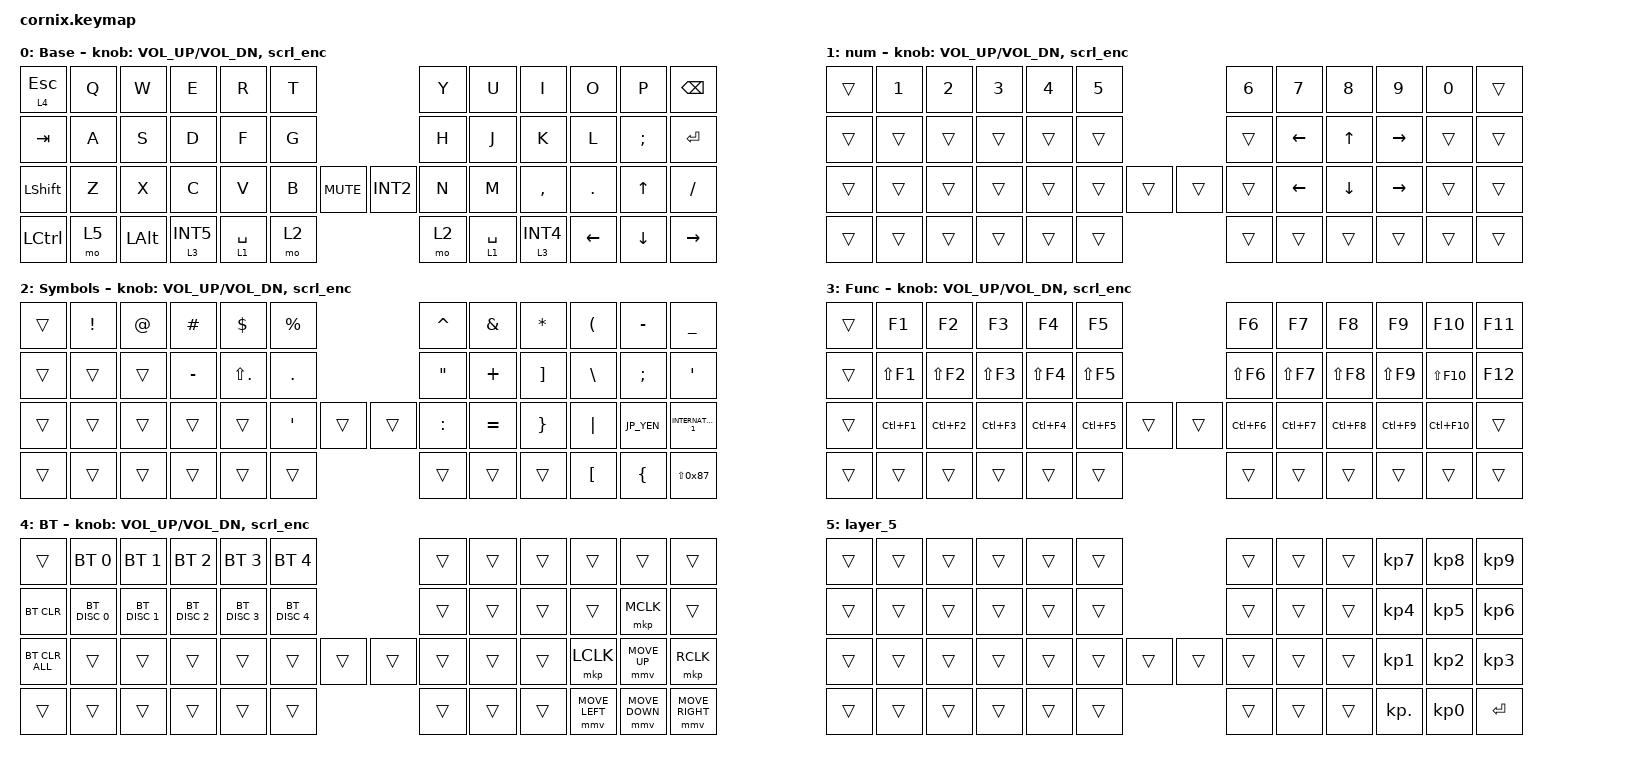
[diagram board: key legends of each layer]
/*
 * Copyright (c) 2020 The ZMK Contributors
 *
 * SPDX-License-Identifier: MIT
 */

#include "zmk-helpers/helper.h"
#include "includes/cornix54.h"

// tap windows for ctl alt and gui

#define HM_TAPPING_TERM 250
#define HM_TAPPING_REPEAT 210

// quick tapping for shift

#define HM_TAPPING_TERM_FAST 200
#define HM_PRIOR_IDLE 70
#define BASE 0
#define WIN 1
#define LOWER 2
#define RAISE 3
#define ADJUST 4
#define NAVI   5
#define NUM    6
#define DEBUG  7

// https://github.com/urob/zmk-config/tree/main#timeless-homerow-mods

#define KEYS_L LT0 LT1 LT2 LT3 LT4 LT5 LM0 LM1 LM2 LM3 LM4 LM5 LB0 LB1 LB2 LB3 LB4 LB5  // left hand
#define KEYS_R RT0 RT1 RT2 RT3 RT4 RT5 RM0 RM1 RM2 RM3 RM4 RM5 RB0 RB1 RB2 RB3 RB4 RB5  // right hand
#define THUMBS LH1 LH0 RH0 RH1
#define KEYS_T LH1 LH0 RH0 RH1
#define ZMK_POINTING_DEFAULT_SCRL_VAL 50
#define JP_DQUOTE       AT                // "
#define JP_AMPERSAND    CARET             // &
#define JP_QUOTE        AMPERSAND         // '
#define JP_EQUAL        UNDER             // =
#define JP_CARET        EQUAL             // ^
#define JP_YEN          0x89              // ¥
#define JP_PLUS         COLON             // +
#define JP_TILDE        PLUS              // ~
#define JP_PIPE         LS(0x89)          // |
#define JP_AT           LEFT_BRACKET      // @
#define JP_COLON        SINGLE_QUOTE      // :
#define JP_ASTERISK     DOUBLE_QUOTES     // *
#define JP_BACKQUOTE    LEFT_BRACE        // `
#define JP_UNDERSCORE   LS(0x87)          // _
#define JP_LBRACKET     RIGHT_BRACKET     // [
#define JP_RBRACKET     BACKSLASH         // ]
#define JP_LPAREN       ASTERISK          // (
#define JP_RPAREN       LEFT_PARENTHESIS  // )
#define JP_LBRACE       RIGHT_BRACE       // {
#define JP_RBRACE       PIPE              // }
#define JP_KANA         LANGUAGE_1        // かな
#define JP_EISU         LANGUAGE_2        // 英数
#define JP_HANZEN       GRAVE             // 半角/全角
#define JP_BSLH         INTERNATIONAL_1   // ろ（右下の \ と _ のキー）

#include <behaviors.dtsi>
#include <dt-bindings/zmk/bt.h>
#include <dt-bindings/zmk/keys.h>
#include <dt-bindings/zmk/pointing.h>

/ {
    // Activate ADJUST layer by pressing raise and lower

    behaviors {
        hm_l: homerow_mods_left {
            compatible = "zmk,behavior-hold-tap";
            #binding-cells = <2>;
            bindings = <&kp>, <&kp>;

            flavor = "balanced";
            tapping-term-ms = <HM_TAPPING_TERM>;
            quick-tap-ms = <200>;                // repeat on tap-into-hold
            require-prior-idle-ms = <HM_PRIOR_IDLE>;
            hold-trigger-key-positions = <KEYS_R KEYS_T>;
            hold-trigger-on-release;
        };

        hm_r: homerow_mods_right {
            compatible = "zmk,behavior-hold-tap";
            #binding-cells = <2>;
            bindings = <&kp>, <&kp>;

            flavor = "balanced";
            tapping-term-ms = <HM_TAPPING_TERM>;
            quick-tap-ms = <200>;
            require-prior-idle-ms = <HM_PRIOR_IDLE>;
            hold-trigger-key-positions = <KEYS_L KEYS_T>;
            hold-trigger-on-release;
        };

        // Positional Homerow mods for shift
        // Use faster tapping term and disable some features that may
        // cause false negatives.

        hm_shift_l: hm_shift_l {
            compatible = "zmk,behavior-hold-tap";
            #binding-cells = <2>;
            bindings = <&kp>, <&kp>;

            //flavor = "balanced";

            flavor = "balanced";
            tapping-term-ms = <HM_TAPPING_TERM_FAST>;
            quick-tap-ms = <200>;
            require-prior-idle-ms = <HM_PRIOR_IDLE>;
            hold-trigger-key-positions = <KEYS_R KEYS_T>;
            hold-trigger-on-release;
        };

        hm_shift_r: hm_shift_r {
            compatible = "zmk,behavior-hold-tap";
            #binding-cells = <2>;
            bindings = <&kp>, <&kp>;

            flavor = "balanced";
            tapping-term-ms = <HM_TAPPING_TERM_FAST>;
            quick-tap-ms = <200>;
            require-prior-idle-ms = <HM_PRIOR_IDLE>;
            hold-trigger-key-positions = <KEYS_L KEYS_T>;

            // for quick tapping; shift+~

            hold-trigger-on-release;
        };

        /*
         * Non-Positional Homerow Mods
         * Used for &mm_grescm_gui behavior on left hand.
         *
         * Usage: &hm LSHFT T
         * Tap: T
         * Tap-Tap-Hold: Repeat T
         * Hold: LSHIFT
         */

        hm: homerow_mods {
            compatible = "zmk,behavior-hold-tap";
            #binding-cells = <2>;
            bindings = <&kp>, <&kp>;

            flavor = "balanced";
            tapping-term-ms = <HM_TAPPING_TERM>;
            quick-tap-ms = <200>;
        };

        lt: layer_tap {
            compatible = "zmk,behavior-hold-tap";
            #binding-cells = <2>;
            bindings = <&mo>, <&kp>;

            flavor = "hold-preferred";
            tapping-term-ms = <HM_TAPPING_TERM>;
            quick-tap-ms = <200>;
        };

        scrl_enc: scrl_enc {
            compatible = "zmk,behavior-sensor-rotate";
            #sensor-binding-cells = <0>;
            bindings = <&msc SCRL_DOWN>, <&msc SCRL_UP>;

            tap-ms = <50>;
        };
    };

    conditional_layers { compatible = "zmk,conditional-layers"; };

    combos {
        compatible = "zmk,combos";

        esc {
            bindings = <&kp ESCAPE>;
            key-positions = <0 1>;
        };

        minus {
            bindings = <&kp MINUS>;
            key-positions = <8 9>;
        };

        alt_f4 {
            bindings = <&kp LA(F4)>;
            key-positions = <3 4 5>;
        };

        equal {
            bindings = <&kp JP_EQUAL>;
            key-positions = <9 10>;
        };

        tidle {
            bindings = <&kp JP_TILDE>;
            key-positions = <7 8>;
        };

        pipe {
            bindings = <&kp JP_PIPE>;
            key-positions = <18 32>;
        };

        underscore {
            bindings = <&kp JP_UNDERSCORE>;
            key-positions = <37 36>;
        };

        del {
            bindings = <&kp DELETE>;
            key-positions = <10 11>;
        };

        question {
            bindings = <&kp QUESTION>;
            key-positions = <6 7>;
        };

        pointerref {
            bindings = <&pointer_macro>;
            key-positions = <18 19>;
        };

        win {
            bindings = <&kp LEFT_GUI>;
            key-positions = <39 40>;
        };

        space {
            bindings = <&kp SPACE>;
            key-positions = <44 43>;
        };
    };

    macros {
        pointer_macro: new_macro {
            compatible = "zmk,behavior-macro";
            #binding-cells = <0>;
            bindings = <&kp KP_MINUS &kp GT>;
            label = "NEW_MACRO";
        };
    };

    keymap {
        compatible = "zmk,keymap";

        default_layer {
            display-name = "Base";
            bindings = <
&lt 4 ESC         &kp Q  &kp W         &kp E       &kp R        &kp T                        &kp Y  &kp U        &kp I       &kp O     &kp P         &kp BACKSPACE
&kp TAB           &kp A  &kp S         &kp D       &kp F        &kp G                        &kp H  &kp J        &kp K       &kp L     &kp SEMI      &kp ENTER
&kp LEFT_SHIFT    &kp Z  &kp X         &kp C       &kp V        &kp B  &kp C_MUTE  &kp INT2  &kp N  &kp M        &kp COMMA   &kp DOT   &kp UP_ARROW  &kp SLASH
&kp LEFT_CONTROL  &mo 5  &kp LEFT_ALT  &lt 3 INT5  &lt 1 SPACE  &mo 2                        &mo 2  &lt 1 SPACE  &lt 3 INT4  &kp LEFT  &kp DOWN      &kp RIGHT
            >;

            // 左：ボリューム調整、右：スクロール（ご希望の本来の配置）

            sensor-bindings = <&inc_dec_kp C_VOL_UP C_VOL_DN>, <&scrl_enc>;
        };

        Num_layer {
            display-name = "num";
            bindings = <
&trans  &kp N1  &kp N2  &kp N3  &kp N4  &kp N5                  &kp N6  &kp N7    &kp N8    &kp N9     &kp N0  &trans
&trans  &trans  &trans  &trans  &trans  &trans                  &trans  &kp LEFT  &kp UP    &kp RIGHT  &trans  &trans
&trans  &trans  &trans  &trans  &trans  &trans  &trans  &trans  &trans  &kp LEFT  &kp DOWN  &kp RIGHT  &trans  &trans
&trans  &trans  &trans  &trans  &trans  &trans                  &trans  &trans    &trans    &trans     &trans  &trans
            >;

            sensor-bindings = <&inc_dec_kp C_VOL_UP C_VOL_DN>, <&scrl_enc>;
        };

        Symbol_layer {
            display-name = "Symbols";
            bindings = <
&trans  &kp EXCLAMATION  &kp JP_DQUOTE  &kp HASH   &kp DOLLAR   &kp PERCENT                   &kp JP_AMPERSAND  &kp JP_QUOTE  &kp JP_LPAREN    &kp JP_RPAREN    &kp MINUS         &kp JP_EQUAL
&trans  &trans           &trans         &kp MINUS  &kp LS(DOT)  &kp DOT                       &kp JP_ASTERISK   &kp JP_TILDE  &kp JP_LBRACKET  &kp JP_RBRACKET  &kp SEMI          &kp JP_COLON
&trans  &trans           &trans         &trans     &trans       &kp JP_COLON  &trans  &trans  &kp JP_PLUS       &kp JP_CARET  &kp JP_LBRACE    &kp JP_RBRACE    &kp JP_YEN        &kp JP_BSLH
&trans  &trans           &trans         &trans     &trans       &trans                        &trans            &trans        &trans           &kp JP_AT        &kp JP_BACKQUOTE  &kp JP_UNDERSCORE
            >;

            sensor-bindings = <&inc_dec_kp C_VOL_UP C_VOL_DN>, <&scrl_enc>;
        };

        Function_layer {
            display-name = "Func";
            bindings = <
&trans  &kp F1      &kp F2      &kp F3      &kp F4      &kp F5                      &kp F6      &kp F7      &kp F8      &kp F9      &kp F10      &kp F11
&trans  &kp LS(F1)  &kp LS(F2)  &kp LS(F3)  &kp LS(F4)  &kp LS(F5)                  &kp LS(F6)  &kp LS(F7)  &kp LS(F8)  &kp LS(F9)  &kp LS(F10)  &kp F12
&trans  &kp LC(F1)  &kp LC(F2)  &kp LC(F3)  &kp LC(F4)  &kp LC(F5)  &trans  &trans  &kp LC(F6)  &kp LC(F7)  &kp LC(F8)  &kp LC(F9)  &kp LC(F10)  &trans
&trans  &trans      &trans      &trans      &trans      &trans                      &trans      &trans      &trans      &trans      &trans       &trans
            >;

            sensor-bindings = <&inc_dec_kp C_VOL_UP C_VOL_DN>, <&scrl_enc>;
        };

        BT_layer {
            display-name = "BT";
            bindings = <
&trans          &bt BT_SEL 0   &bt BT_SEL 1   &bt BT_SEL 2   &bt BT_SEL 3   &bt BT_SEL 4                   &trans  &trans  &trans  &trans          &trans          &trans
&bt BT_CLR      &bt BT_DISC 0  &bt BT_DISC 1  &bt BT_DISC 2  &bt BT_DISC 3  &bt BT_DISC 4                  &trans  &trans  &trans  &trans          &mkp MCLK       &trans
&bt BT_CLR_ALL  &trans         &trans         &trans         &trans         &trans         &trans  &trans  &trans  &trans  &trans  &mkp LCLK       &mmv MOVE_UP    &mkp RCLK
&trans          &trans         &trans         &trans         &trans         &trans                         &trans  &trans  &trans  &mmv MOVE_LEFT  &mmv MOVE_DOWN  &mmv MOVE_RIGHT
            >;

            sensor-bindings = <&inc_dec_kp C_VOL_UP C_VOL_DN>, <&scrl_enc>;
        };

        layer_5 {
            bindings = <
&trans  &trans  &trans  &trans  &trans  &trans                  &trans  &trans  &trans  &kp KP_NUMBER_7  &kp KP_NUMBER_8  &kp KP_NUMBER_9
&trans  &trans  &trans  &trans  &trans  &trans                  &trans  &trans  &trans  &kp KP_NUMBER_4  &kp KP_NUMBER_5  &kp KP_NUMBER_6
&trans  &trans  &trans  &trans  &trans  &trans  &trans  &trans  &trans  &trans  &trans  &kp KP_NUMBER_1  &kp KP_NUMBER_2  &kp KP_NUMBER_3
&trans  &trans  &trans  &trans  &trans  &trans                  &trans  &trans  &trans  &kp KP_DOT       &kp KP_NUMBER_0  &kp ENTER
            >;
        };
    };
};
